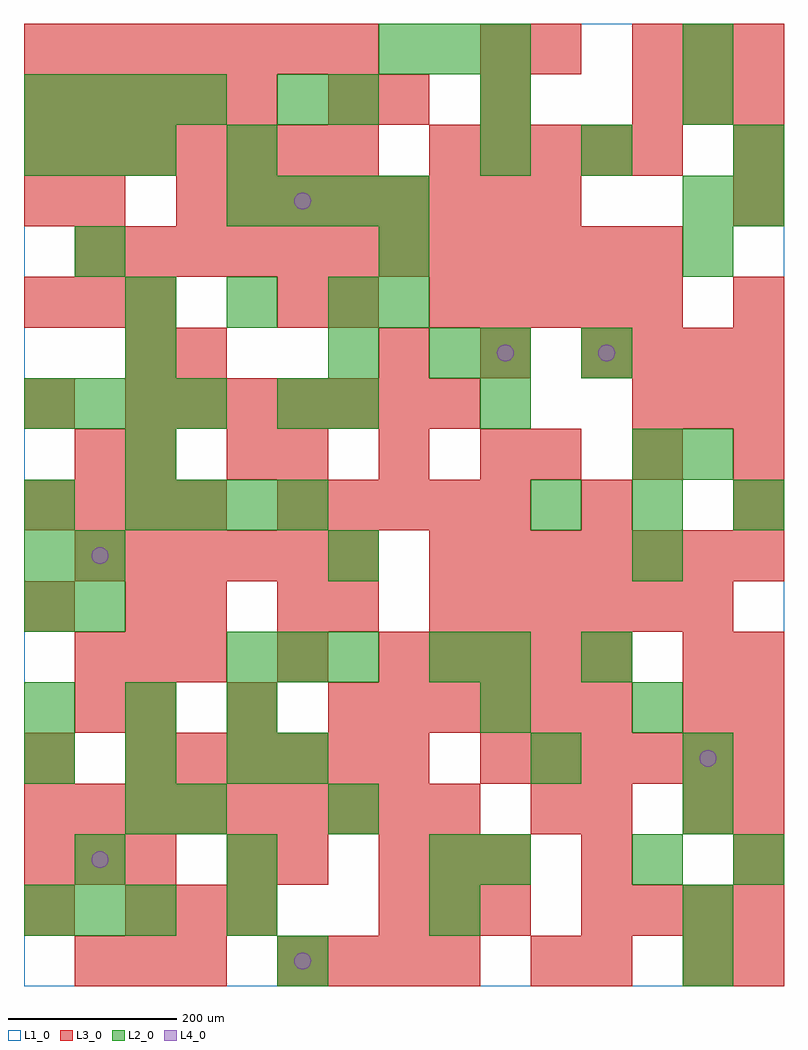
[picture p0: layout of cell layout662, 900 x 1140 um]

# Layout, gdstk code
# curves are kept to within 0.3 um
import gdstk
lib = gdstk.Library(unit=1e-6, precision=1e-09)
def R(c, l, rs):  # rectangles x0, y0, x1, y1
    for r in rs: c.add(gdstk.rectangle(r[:2], r[2:], *l))
def A(c, l, x, y, w, h, nx, ny, dx, dy):  # array of equal rectangles
    R(c, l, [(x+i*dx, y+j*dy, x+i*dx+w, y+j*dy+h) for i in range(nx) for j in range(ny)])
def P(c, l, *ps):  # polygons
    for p in ps: c.add(gdstk.Polygon(p, *l))
L1_0 = (1, 0)
L2_0 = (2, 0)
L3_0 = (3, 0)
L4_0 = (4, 0)

layout662 = lib.new_cell('layout662')
R(layout662, L1_0, [(0,0,900,1140)])
A(layout662, L2_0, 0, 60, 60, 60, 3, 2, 60, 900)
A(layout662, L2_0, 720, 120, 60, 60, 1, 3, 0, 180)
A(layout662, L2_0, 0, 240, 60, 60, 3, 2, 120, 60)
A(layout662, L2_0, 240, 360, 60, 60, 3, 1, 60, 0)
A(layout662, L2_0, 0, 420, 60, 60, 1, 3, 0, 60)
A(layout662, L2_0, 120, 540, 60, 60, 4, 1, 60, 0)
A(layout662, L2_0, 600, 540, 60, 60, 3, 1, 120, 0)
A(layout662, L2_0, 0, 660, 60, 60, 4, 2, 60, 360)
A(layout662, L2_0, 120, 780, 60, 60, 3, 1, 120, 0)
A(layout662, L2_0, 60, 840, 60, 60, 3, 1, 360, 0)
A(layout662, L2_0, 240, 900, 60, 60, 4, 1, 60, 0)
A(layout662, L2_0, 420, 1080, 60, 60, 3, 1, 60, 0)
R(layout662, L2_0, [(300,0,360,60), (780,0,840,60), (240,60,300,120), (480,60,540,120), (780,60,840,120), (60,120,120,180), (240,120,300,180), (480,120,540,180), (540,120,600,180), (840,120,900,180), (120,180,180,240), (180,180,240,240), (360,180,420,240), (780,180,840,240), (300,240,360,300), (600,240,660,300), (780,240,840,300), (540,300,600,360), (480,360,540,420), (540,360,600,420), (660,360,720,420), (60,420,120,480), (60,480,120,540), (360,480,420,540), (120,600,180,660), (720,600,780,660), (780,600,840,660), (300,660,360,720), (360,660,420,720), (540,660,600,720), (120,720,180,780), (360,720,420,780), (480,720,540,780), (540,720,600,780), (660,720,720,780), (420,780,480,840), (780,900,840,960), (840,900,900,960), (240,960,300,1020), (540,960,600,1020), (660,960,720,1020), (840,960,900,1020), (300,1020,360,1080), (360,1020,420,1080), (540,1020,600,1080), (780,1020,840,1080), (780,1080,840,1140)])
A(layout662, L3_0, 60, 0, 60, 60, 3, 2, 60, 360)
A(layout662, L3_0, 300, 0, 60, 60, 4, 1, 60, 0)
A(layout662, L3_0, 0, 60, 60, 60, 1, 3, 0, 180)
A(layout662, L3_0, 120, 60, 60, 60, 3, 1, 60, 0)
A(layout662, L3_0, 420, 60, 60, 60, 3, 2, 60, 60)
A(layout662, L3_0, 660, 60, 60, 60, 4, 1, 60, 0)
A(layout662, L3_0, 0, 120, 60, 60, 3, 2, 60, 660)
A(layout662, L3_0, 0, 180, 60, 60, 9, 1, 60, 0)
A(layout662, L3_0, 120, 240, 60, 60, 6, 1, 60, 0)
A(layout662, L3_0, 540, 240, 60, 60, 6, 1, 60, 0)
A(layout662, L3_0, 60, 300, 60, 60, 1, 3, 0, 300)
A(layout662, L3_0, 120, 300, 60, 60, 3, 1, 120, 0)
A(layout662, L3_0, 420, 300, 60, 60, 5, 2, 60, 60)
A(layout662, L3_0, 480, 420, 60, 60, 6, 1, 60, 0)
A(layout662, L3_0, 60, 480, 60, 60, 6, 1, 60, 0)
A(layout662, L3_0, 480, 480, 60, 60, 7, 1, 60, 0)
A(layout662, L3_0, 0, 540, 60, 60, 4, 1, 60, 0)
A(layout662, L3_0, 300, 540, 60, 60, 5, 1, 60, 0)
A(layout662, L3_0, 300, 600, 60, 60, 3, 1, 120, 0)
A(layout662, L3_0, 600, 600, 60, 60, 3, 1, 120, 0)
A(layout662, L3_0, 120, 660, 60, 60, 7, 1, 60, 0)
A(layout662, L3_0, 720, 660, 60, 60, 3, 2, 60, 60)
A(layout662, L3_0, 420, 720, 60, 60, 3, 1, 120, 0)
A(layout662, L3_0, 480, 780, 60, 60, 5, 2, 60, 180)
A(layout662, L3_0, 60, 840, 60, 60, 12, 1, 60, 0)
A(layout662, L3_0, 180, 900, 60, 60, 8, 1, 60, 0)
A(layout662, L3_0, 0, 960, 60, 60, 7, 2, 60, 120)
A(layout662, L3_0, 0, 1020, 60, 60, 5, 1, 60, 0)
A(layout662, L3_0, 720, 1020, 60, 60, 3, 2, 60, 60)
R(layout662, L3_0, [(600,0,660,60), (660,0,720,60), (780,0,840,60), (840,0,900,60), (240,120,300,180), (300,120,360,180), (660,120,720,180), (840,120,900,180), (600,180,660,240), (660,180,720,240), (780,180,840,240), (840,180,900,240), (780,300,840,360), (840,300,900,360), (300,360,360,420), (780,360,840,420), (840,360,900,420), (120,420,180,480), (180,420,240,480), (300,420,360,480), (360,420,420,480), (660,540,720,600), (840,540,900,600), (120,600,180,660), (240,600,300,660), (0,660,60,720), (120,720,180,780), (180,720,240,780), (300,780,360,840), (360,780,420,840), (840,780,900,840), (0,900,60,960), (840,900,900,960), (840,960,900,1020), (360,1020,420,1080), (420,1020,480,1080), (540,1020,600,1080), (540,1080,600,1140), (600,1080,660,1140)])
P(layout662, L4_0, [(100,150),(99.239,153.827),(97.071,157.071),(93.827,159.239),(90,160),(86.173,159.239),(82.929,157.071),(80.761,153.827),(80,150),(80.761,146.173),(82.929,142.929),(86.173,140.761),(90,140),(93.827,140.761),(97.071,142.929),(99.239,146.173)],
  [(100,510),(99.239,513.827),(97.071,517.071),(93.827,519.239),(90,520),(86.173,519.239),(82.929,517.071),(80.761,513.827),(80,510),(80.761,506.173),(82.929,502.929),(86.173,500.761),(90,500),(93.827,500.761),(97.071,502.929),(99.239,506.173)],
  [(340,30),(339.239,33.827),(337.071,37.071),(333.827,39.239),(330,40),(326.173,39.239),(322.929,37.071),(320.761,33.827),(320,30),(320.761,26.173),(322.929,22.929),(326.173,20.761),(330,20),(333.827,20.761),(337.071,22.929),(339.239,26.173)],
  [(340,930),(339.239,933.827),(337.071,937.071),(333.827,939.239),(330,940),(326.173,939.239),(322.929,937.071),(320.761,933.827),(320,930),(320.761,926.173),(322.929,922.929),(326.173,920.761),(330,920),(333.827,920.761),(337.071,922.929),(339.239,926.173)],
  [(580,750),(579.239,753.827),(577.071,757.071),(573.827,759.239),(570,760),(566.173,759.239),(562.929,757.071),(560.761,753.827),(560,750),(560.761,746.173),(562.929,742.929),(566.173,740.761),(570,740),(573.827,740.761),(577.071,742.929),(579.239,746.173)],
  [(700,750),(699.239,753.827),(697.071,757.071),(693.827,759.239),(690,760),(686.173,759.239),(682.929,757.071),(680.761,753.827),(680,750),(680.761,746.173),(682.929,742.929),(686.173,740.761),(690,740),(693.827,740.761),(697.071,742.929),(699.239,746.173)],
  [(820,270),(819.239,273.827),(817.071,277.071),(813.827,279.239),(810,280),(806.173,279.239),(802.929,277.071),(800.761,273.827),(800,270),(800.761,266.173),(802.929,262.929),(806.173,260.761),(810,260),(813.827,260.761),(817.071,262.929),(819.239,266.173)])

lib.write_gds('layout662.gds')
